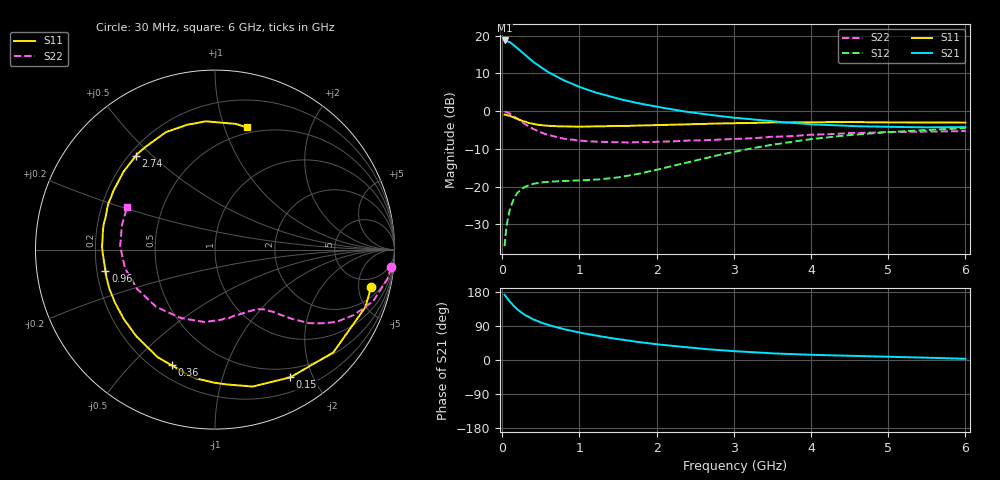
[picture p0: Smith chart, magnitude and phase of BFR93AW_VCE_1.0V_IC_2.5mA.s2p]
! Infineon Technologies  Discrete & RF Semiconductors
! BFR93AW
! VCE =  1.0 V,  IC =  2.5 mA
! Common Emitter S-Parameters:  Nov 2015
# GHz  S  MA  R  50
!  f  S11  S21  S12  S22
! GHz  MAG  ANG  MAG  ANG  MAG  ANG  MAG  ANG
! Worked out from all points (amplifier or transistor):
!   206 points, 30 MHz to 6 GHz, reference 50 ohm
!   highest |S21| = 18.7 dB at 30 MHz (marker M1)
!   |S21| within 3 dB of that: start of sweep to 247.9 MHz
!   unconditionally stable (mu >= 1): 1.132 GHz to 2.685 GHz; 5.388 GHz to end of sweep
!   at 200 MHz: K = 0.19, MSG = 19.1 dB, |S12| = -21.6 dB
!   at 1.56 GHz: K = 1.18, MAG = 7.6 dB, |S12| = -17.4 dB
!   at 6 GHz: K = 1.01, MAG = -0.5 dB, |S12| = -4.5 dB
!   S11 on the Smith chart (normalised r, x): 30 MHz: 3.27, -6.85; 150 MHz: 0.38, -1.69; 360 MHz: 0.27, -0.66; 960 MHz: 0.24, -0.09; 2.74 GHz: 0.23, +0.44; 6 GHz: 0.44, +1.20
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0.03  0.8941 -13.6  8.632 172.0  0.0162 84.1  0.9866 -5.8
0.05  0.8972 -20.9  8.574 166.4  0.0268 78.7  0.9752 -9.6
0.1  0.8734 -41.0  8.178 153.7  0.0505 68.1  0.9259 -18.2
0.15  0.8261 -59.5  7.476 142.2  0.069 59.1  0.8554 -25.2
0.2  0.7914 -74.6  6.778 132.8  0.0833 52.3  0.7879 -30.7
0.26  0.7412 -90.4  5.959 123.4  0.0941 45.3  0.7097 -35.4
0.3  0.7241 -99.7  5.491 118.0  0.0999 42.1  0.667 -37.9
0.36  0.6885 -110.5  4.877 112.0  0.1051 38.5  0.6147 -40.1
0.4  0.6793 -118.1  4.503 107.2  0.1088 36.3  0.5804 -41.8
0.5  0.6523 -132.2  3.806 98.8  0.113 32.9  0.5202 -44.6
0.6  0.6386 -142.8  3.263 92.1  0.1159 31.3  0.4815 -46.5
0.8  0.6278 -159.7  2.549 81.2  0.1183 31.0  0.4305 -50.7
0.96  0.6215 -169.2  2.172 74.2  0.1201 32.5  0.4114 -53.8
1.04  0.622 -173.6  2.022 70.9  0.1209 33.6  0.4032 -56.0
1.2  0.6296 178.6  1.776 64.8  0.1232 36.7  0.3941 -60.2
1.5  0.636 167.0  1.461 55.0  0.1322 44.1  0.3869 -68.9
2.02  0.6538 149.7  1.133 41.0  0.1686 54.6  0.3929 -85.9
2.74  0.6828 130.4  0.879 27.1  0.2529 58.5  0.4153 -110.0
3.1  0.6923 121.8  0.8 22.3  0.3015 56.5  0.4299 -121.7
4.1  0.7119 101.0  0.662 13.2  0.4351 44.9  0.4887 -156.4
5.1  0.7077 85.7  0.616 8.0  0.5326 30.6  0.5281 175.4
6  0.7037 75.2  0.614 3.1  0.594 19.3  0.5449 154.0
